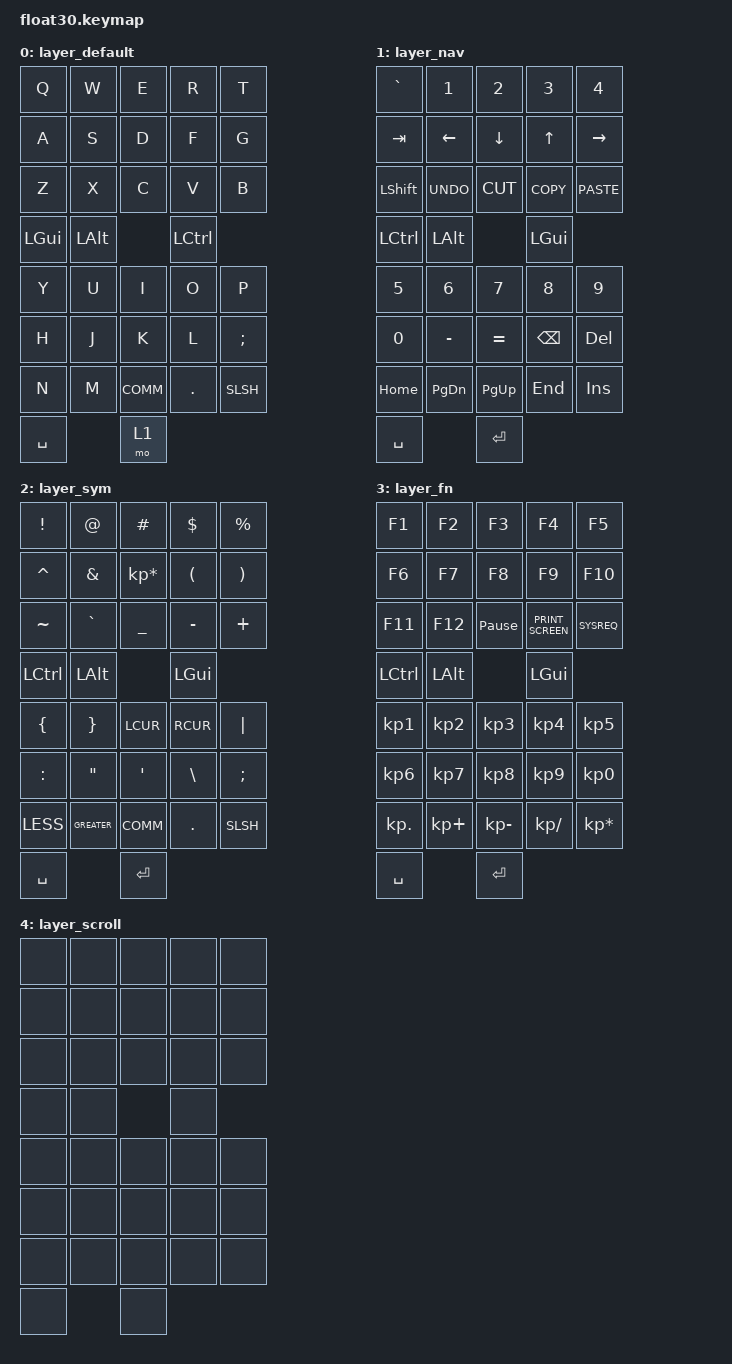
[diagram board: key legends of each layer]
#include <behaviors.dtsi>
#include <dt-bindings/zmk/keys.h>
#include <dt-bindings/zmk/bt.h>
#include <dt-bindings/zmk/outputs.h>
#include <dt-bindings/zmk/mouse.h>

/ {
    keymap {
        compatible = "zmk,keymap";

        default_layer: layer_default {
            bindings = <
                // Left half (18): top / home / bottom / thumbs
&kp Q &kp W &kp E &kp R &kp T
&kp A &kp S &kp D &kp F &kp G
&kp Z &kp X &kp C &kp V &kp B
&kp LGUI &kp LALT &kp LCTL
                // Right half (17): top / home / bottom / thumbs
&kp Y &kp U &kp I &kp O &kp P
&kp H &kp J &kp K &kp L &kp SEMI
&kp N &kp M &kp COMM &kp DOT &kp SLSH
&kp SPACE &mo 1
            >;
        };

        nav_layer: layer_nav {
            bindings = <
&kp GRAVE &kp N1 &kp N2 &kp N3  &kp N4
&kp TAB  &kp LEFT &kp DOWN &kp UP &kp RIGHT
&kp LSHFT &kp UNDO &kp CUT &kp COPY &kp PASTE
&kp LCTL &kp LALT &kp LGUI

&kp N5 &kp N6 &kp N7 &kp N8 &kp N9
&kp N0 &kp MINUS &kp EQUAL &kp BSPC &kp DEL
&kp HOME &kp PG_DN &kp PG_UP &kp END &kp INS
&kp SPACE &kp RET
            >;
        };

        sym_layer: layer_sym {
            bindings = <
&kp EXCL &kp AT &kp HASH &kp DLLR &kp PRCNT
&kp CARET &kp AMPERSAND &kp KP_MULTIPLY &kp LPAR &kp RPAR
&kp TILDE &kp GRAVE &kp UNDERSCORE &kp MINUS &kp PLUS
&kp LCTL &kp LALT &kp LGUI

&kp LBRC &kp RBRC &kp LCUR &kp RCUR &kp PIPE
&kp COLON &kp DQT &kp QUOT &kp BSLH &kp SEMI
&kp LESS &kp GREATER &kp COMM &kp DOT &kp SLSH
&kp SPACE &kp RET
            >;
        };

        fn_layer: layer_fn {
            bindings = <
&kp F1 &kp F2 &kp F3 &kp F4 &kp F5
&kp F6 &kp F7 &kp F8 &kp F9 &kp F10
&kp F11 &kp F12 &kp PAUSE_BREAK &kp PRINT_SCREEN &kp SYSREQ
&kp LCTL &kp LALT &kp LGUI

&kp KP_N1 &kp KP_N2 &kp KP_N3 &kp KP_N4 &kp KP_N5
&kp KP_N6 &kp KP_N7 &kp KP_N8 &kp KP_N9 &kp KP_N0
&kp KP_DOT &kp KP_PLUS &kp KP_MINUS &kp KP_DIVIDE &kp KP_MULTIPLY
&kp SPACE &kp RET
            >;
        };

        scroll_layer: layer_scroll {
            bindings = <
&none &none &none &none &none
&none &none &none &none &none
&none &none &none &none &none
&none &none &none

&none &none &none &none &none
&none &none &none &none &none
&none &none &none &none &none
&none &none
            >;
        };
    };
};
